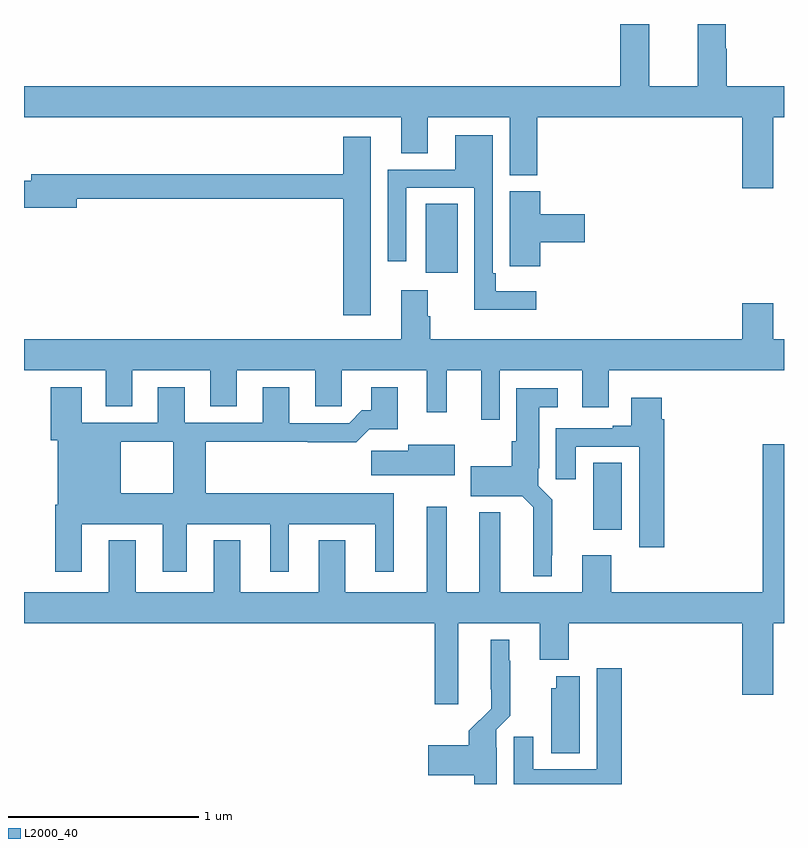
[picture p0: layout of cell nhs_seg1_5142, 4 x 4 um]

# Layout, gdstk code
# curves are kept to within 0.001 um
import gdstk
lib = gdstk.Library(unit=1e-6, precision=1e-09)
def R(c, l, rs):  # rectangles x0, y0, x1, y1
    for r in rs: c.add(gdstk.rectangle(r[:2], r[2:], *l))
def P(c, l, *ps):  # polygons
    for p in ps: c.add(gdstk.Polygon(p, *l))
L2000_40 = (2000, 40)

nhs_seg1_5142 = lib.new_cell('nhs_seg1_5142')
R(nhs_seg1_5142, L2000_40, [(391.997,573.537,392.146,573.89), (391.115,574.89,391.282,575.252)])
P(nhs_seg1_5142, L2000_40, [(392.944,575.708),(393,575.708),(393,575.872),(392.699,575.872),(392.699,576.068),(392.694,576.068),(392.694,576.199),(392.546,576.199),(392.546,575.872),(392.29,575.872),(392.29,576.199),(392.138,576.199),(392.138,575.872),(389,575.872),(389,575.708),(390.986,575.708),(390.986,575.518),(391.126,575.518),(391.126,575.708),(391.556,575.708),(391.556,575.404),(391.7,575.404),(391.7,575.708),(392.78,575.708),(392.78,575.334),(392.944,575.334)],
  [(391.696,574.792),(391.483,574.792),(391.483,574.888),(391.467,574.888),(391.467,575.614),(391.271,575.614),(391.271,575.433),(390.915,575.433),(390.915,574.95),(391.011,574.95),(391.011,575.337),(391.371,575.337),(391.371,574.694),(391.696,574.694)],
  [(390.826,575.605),(390.68,575.605),(390.68,575.407),(389.039,575.407),(389.039,575.373),(389,575.373),(389,575.231),(389.278,575.231),(389.278,575.278),(390.68,575.278),(390.68,574.665),(390.826,574.665)],
  [(391.718,575.051),(391.951,575.051),(391.951,575.198),(391.718,575.198),(391.718,575.319),(391.556,575.319),(391.556,575.035),(391.557,575.035),(391.557,574.923),(391.718,574.923)],
  [(391.503,574.376),(391.937,574.376),(391.937,574.182),(392.077,574.182),(392.077,574.376),(393,574.376),(393,574.54),(392.944,574.54),(392.944,574.729),(392.78,574.729),(392.78,574.54),(391.139,574.54),(391.139,574.661),(391.126,574.661),(391.126,574.798),(390.986,574.798),(390.986,574.54),(389,574.54),(389,574.376),(389.429,574.376),(389.429,574.186),(389.569,574.186),(389.569,574.376),(389.981,574.376),(389.981,574.186),(390.121,574.186),(390.121,574.376),(390.533,574.376),(390.533,574.186),(390.672,574.186),(390.672,574.376),(391.121,574.376),(391.121,574.155),(391.225,574.155),(391.225,574.376),(391.406,574.376),(391.406,574.116),(391.503,574.116)],
  [(389.165,573.67),(389.165,573.315),(389.305,573.315),(389.305,573.566),(389.729,573.566),(389.729,573.315),(389.857,573.315),(389.857,573.566),(390.296,573.566),(390.296,573.315),(390.394,573.315),(390.394,573.566),(390.848,573.566),(390.848,573.315),(390.946,573.315),(390.946,573.73),(389.957,573.73),(389.957,574),(390.493,574),(390.493,573.998),(390.749,573.998),(390.818,574.067),(390.967,574.067),(390.967,574.288),(390.827,574.288),(390.827,574.165),(390.778,574.165),(390.711,574.098),(390.397,574.098),(390.397,574.288),(390.257,574.288),(390.257,574.101),(389.845,574.101),(389.845,574.288),(389.705,574.288),(389.705,574.101),(389.305,574.101),(389.305,574.288),(389.141,574.288),(389.141,574.008),(389.177,574.008),(389.177,573.73),(389.509,573.73),(389.509,574),(389.786,574),(389.786,573.73),(389.177,573.73),(389.177,573.67)],
  [(391.777,573.403),(391.781,573.403),(391.781,573.694),(391.707,573.768),(391.707,573.862),(391.711,573.862),(391.711,574.181),(391.81,574.181),(391.81,574.282),(391.592,574.282),(391.592,574.002),(391.567,574.002),(391.567,573.871),(391.351,573.871),(391.351,573.713),(391.623,573.713),(391.68,573.656),(391.679,573.293),(391.777,573.293)],
  [(392.369,574.118),(392.356,574.118),(392.356,574.231),(392.195,574.231),(392.195,574.084),(392.099,574.084),(392.099,574.071),(391.799,574.071),(391.799,573.804),(391.903,573.804),(391.903,573.975),(392.237,573.975),(392.237,573.444),(392.369,573.444)],
  [(391.285,573.044),(391.715,573.044),(391.715,572.852),(391.868,572.852),(391.868,573.044),(392.78,573.044),(392.78,572.67),(392.944,572.67),(392.944,573.044),(393,573.044),(393,573.988),(392.888,573.988),(392.888,573.208),(392.09,573.208),(392.09,573.403),(391.937,573.403),(391.937,573.208),(391.507,573.208),(391.507,573.628),(391.397,573.628),(391.397,573.208),(391.225,573.208),(391.225,573.658),(391.121,573.658),(391.121,573.208),(390.691,573.208),(390.691,573.481),(390.551,573.481),(390.551,573.208),(390.139,573.208),(390.139,573.481),(389.999,573.481),(389.999,573.208),(389.587,573.208),(389.587,573.481),(389.447,573.481),(389.447,573.208),(389,573.208),(389,573.044),(391.163,573.044),(391.163,572.619),(391.285,572.619)],
  [(391.266,573.985),(391.022,573.985),(391.022,573.953),(390.828,573.953),(390.828,573.824),(391.266,573.824)],
  [(391.489,572.39),(391.485,572.39),(391.485,572.484),(391.559,572.558),(391.559,572.849),(391.555,572.849),(391.555,572.959),(391.457,572.959),(391.458,572.596),(391.34,572.478),(391.34,572.404),(391.128,572.404),(391.128,572.246),(391.37,572.246),(391.37,572.199),(391.489,572.199)],
  [(392.147,572.809),(392.015,572.809),(392.015,572.277),(391.681,572.277),(391.681,572.449),(391.577,572.449),(391.577,572.199),(392.147,572.199)],
  [(391.924,572.767),(391.802,572.767),(391.802,572.703),(391.775,572.703),(391.775,572.362),(391.924,572.362)])

lib.write_gds('nhs_seg1_5142.gds')
